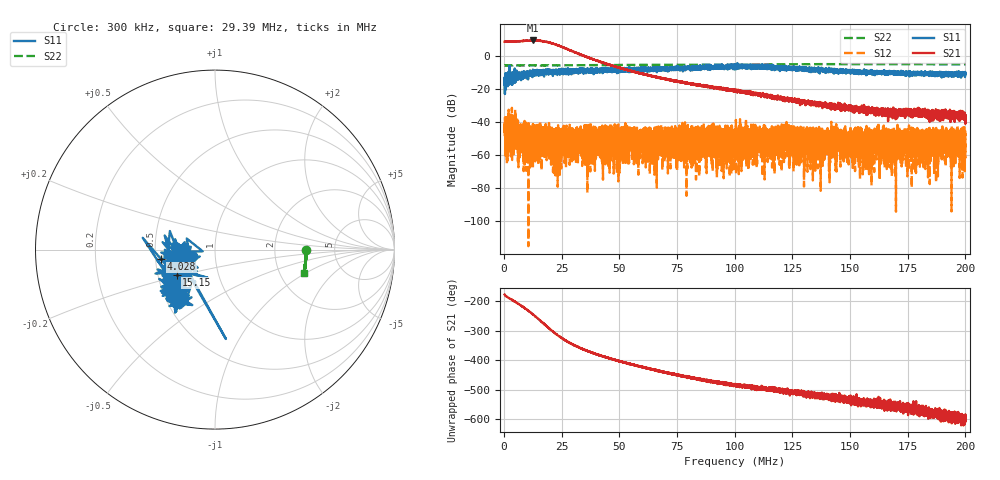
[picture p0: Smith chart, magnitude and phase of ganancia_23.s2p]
# Hz S DB R 50
! CMT, M5065, 19127446, 24.2.4/2
! Date: 11/8/2024 5:07:03 PM
! Data: Format (Calibration Info)
! Freq	S11:dB/Ang(F2)	S21:dB/Ang(F2)	S12:dB/Ang(F2)	S22:dB/Ang(F2)
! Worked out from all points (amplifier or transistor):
!   9000 points, 300 kHz to 200 MHz, reference 50 ohm
!   highest |S21| = 9.2 dB at 12.46 MHz (marker M1)
!   |S21| within 3 dB of that: start of sweep to 23.48 MHz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
!   unconditionally stable (mu >= 1): start of sweep to end of sweep
!   at 33.59 MHz: K = 129.83, MAG = 2.6 dB, |S12| = -53.0 dB
!   at 100.2 MHz: K = 640.13, MAG = -18.7 dB, |S12| = -46.1 dB
!   at 200 MHz: K = 6197.52, MAG = -35.2 dB, |S12| = -48.5 dB
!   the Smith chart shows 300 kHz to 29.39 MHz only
!   S11 on the Smith chart (normalised r, x): 300 kHz: 0.78, -0.06; 4.028 MHz: 0.54, -0.06; 15.15 MHz: 0.63, -0.19; 29.39 MHz: 0.58, -0.39
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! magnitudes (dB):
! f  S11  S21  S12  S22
! 300 kHz  -17.7  8.4  -45.6  -5.9
! 4.028 MHz  -10.4  8.5  -40.9  -5.9
! 12.46 MHz  -9.4  9.2  -59.5  -5.9
! 15.15 MHz  -11.8  8.9  -48.6  -5.9
! 29.39 MHz  -9.0  2.9  -50.0  -5.8
! 33.59 MHz  -8.0  0.5  -53.0  -5.8
! 64.23 MHz  -7.7  -12.3  -51.7  -5.5
! 66.87 MHz  -8.8  -13.5  -43.2  -5.5
! 77.81 MHz  -6.7  -16.0  -47.9  -5.5
! 83.74 MHz  -7.2  -17.6  -48.0  -5.5
! 88.95 MHz  -6.6  -18.6  -50.9  -5.4
! 91.31 MHz  -7.8  -19.6  -55.6  -5.5
! 100.2 MHz  -6.1  -21.4  -46.1  -5.4
! 104.9 MHz  -6.3  -22.1  -38.1  -5.4
! 117 MHz  -6.9  -25.0  -45.6  -5.3
! 122.6 MHz  -8.4  -26.5  -50.5  -5.3
! 133.4 MHz  -7.9  -30.0  -52.9  -5.1
! 166.7 MHz  -10.6  -33.8  -50.9  -5.1
! 187.3 MHz  -11.1  -33.8  -76.6  -5.2
! 191.3 MHz  -10.3  -35.4  -46.6  -5.2
! 198.4 MHz  -11.8  -36.8  -49.4  -5.3
! 200 MHz  -11.3  -37.1  -48.5  -5.3
